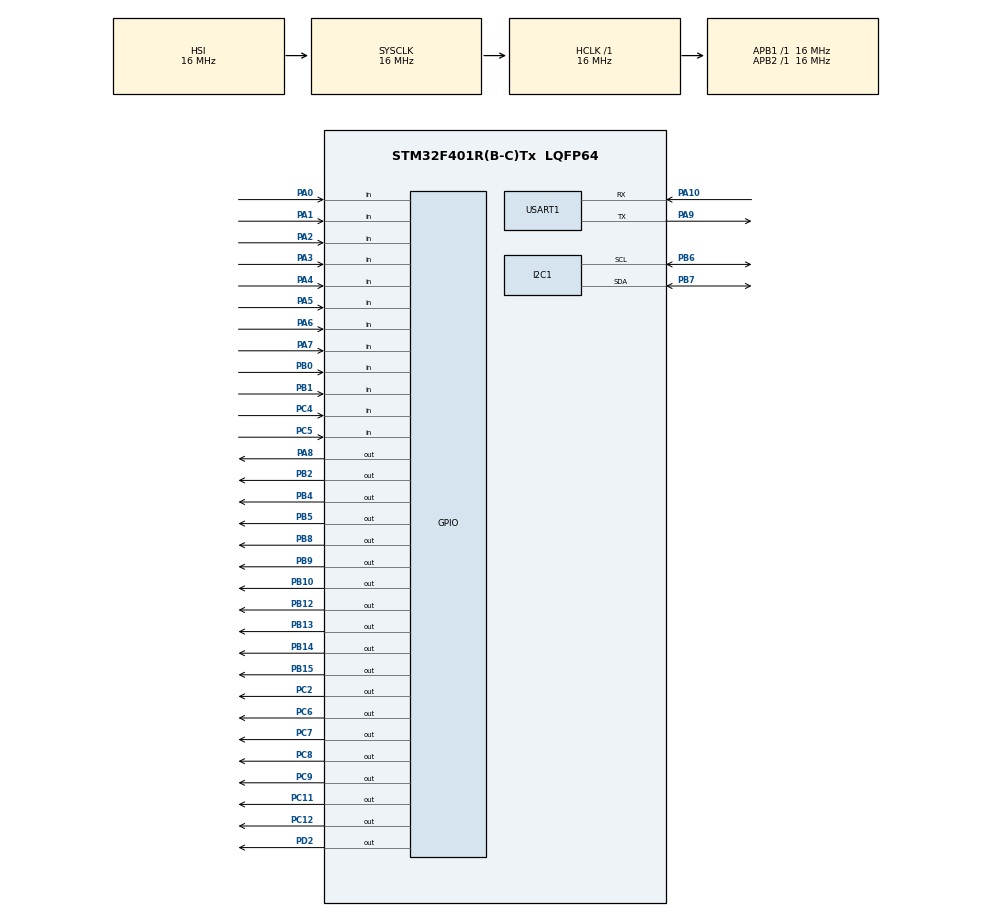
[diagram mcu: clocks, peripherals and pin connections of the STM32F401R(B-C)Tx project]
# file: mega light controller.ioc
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FREERTOS.Tasks01=defaultTask,24,128,StartDefaultTask,Default,NULL,Dynamic,NULL,NULL;lightcontroller,40,128,StartLightcontroller,Default,NULL,Dynamic,NULL,NULL
I2C1.OwnAddress=0x32
Mcu.Family=STM32F4
Mcu.Name=STM32F401R(B-C)Tx
Mcu.Package=LQFP64
NVIC.I2C1_ER_IRQn=true\:0\:0\:false\:false\:true\:false\:true\:true
NVIC.I2C1_EV_IRQn=true\:0\:0\:false\:false\:true\:false\:true\:true
NVIC.PriorityGroup=NVIC_PRIORITYGROUP_4
NVIC.TIM1_UP_TIM10_IRQn=true\:0\:0\:false\:false\:true\:false\:false\:true
NVIC.TimeBase=TIM1_UP_TIM10_IRQn
NVIC.TimeBaseIP=TIM1
PA0-WKUP.Signal=GPIO_Input
PA1.Signal=GPIO_Input
PA10.Mode=Asynchronous
PA10.Signal=USART1_RX
PA13.Mode=Serial_Wire
PA13.Signal=SYS_JTMS-SWDIO
PA14.Mode=Serial_Wire
PA14.Signal=SYS_JTCK-SWCLK
PA2.Signal=GPIO_Input
PA3.Signal=GPIO_Input
PA4.Signal=GPIO_Input
PA5.Signal=GPIO_Input
PA6.Signal=GPIO_Input
PA7.Signal=GPIO_Input
PA8.Signal=GPIO_Output
PA9.Mode=Asynchronous
PA9.Signal=USART1_TX
PB0.Signal=GPIO_Input
PB1.Signal=GPIO_Input
PB10.Signal=GPIO_Output
PB12.Signal=GPIO_Output
PB13.Signal=GPIO_Output
PB14.Signal=GPIO_Output
PB15.Signal=GPIO_Output
PB2.Signal=GPIO_Output
PB4.Signal=GPIO_Output
PB5.Signal=GPIO_Output
PB6.Mode=I2C
PB6.Signal=I2C1_SCL
PB7.Mode=I2C
PB7.Signal=I2C1_SDA
PB8.Signal=GPIO_Output
PB9.Signal=GPIO_Output
PC11.Signal=GPIO_Output
PC12.Signal=GPIO_Output
PC2.Signal=GPIO_Output
PC4.Signal=GPIO_Input
PC5.Signal=GPIO_Input
PC6.Signal=GPIO_Output
PC7.Signal=GPIO_Output
PC8.Signal=GPIO_Output
PC9.Signal=GPIO_Output
PD2.Signal=GPIO_Output
ProjectManager.HeapSize=0x200
ProjectManager.StackSize=0x400
ProjectManager.TargetToolchain=STM32CubeIDE
RCC.AHBFreq_Value=16000000
RCC.APB1Freq_Value=16000000
RCC.APB2Freq_Value=16000000
RCC.CortexFreq_Value=16000000
RCC.HSE_VALUE=25000000
RCC.HSI_VALUE=16000000
RCC.LSE_VALUE=32768
RCC.SYSCLKFreq_VALUE=16000000
RCC.VCOOutputFreq_Value=192000000
USART1.VirtualMode=VM_ASYNC
VP_FREERTOS_VS_CMSIS_V2.Mode=CMSIS_V2
VP_SYS_VS_tim1.Mode=TIM1
board=custom

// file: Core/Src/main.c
/* USER CODE BEGIN Header */
/**
  ******************************************************************************
  * @file           : main.c
  * @brief          : Main program body
  ******************************************************************************
  * @attention
  *
  * <h2><center>&copy; Copyright (c) 2020 STMicroelectronics.
  * All rights reserved.</center></h2>
  *
  * This software component is licensed by ST under BSD 3-Clause license,
  * the "License"; You may not use this file except in compliance with the
  * License. You may obtain a copy of the License at:
  *                        opensource.org/licenses/BSD-3-Clause
  *
  ******************************************************************************
  */
/* USER CODE END Header */
#include "main.h"
#include "cmsis_os.h"

/* USER CODE BEGIN PTD */
typedef struct pin_info{
  GPIO_TypeDef* port;
  uint16_t pin;
} pin_info_t;
/* USER CODE END PTD */

I2C_HandleTypeDef hi2c1;

UART_HandleTypeDef huart1;

/* Definitions for defaultTask */
osThreadId_t defaultTaskHandle;
const osThreadAttr_t defaultTask_attributes = {
  .name = "defaultTask",
  .priority = (osPriority_t) osPriorityNormal,
  .stack_size = 128 * 4
};
/* Definitions for lightcontroller */
osThreadId_t lightcontrollerHandle;
const osThreadAttr_t lightcontroller_attributes = {
  .name = "lightcontroller",
  .priority = (osPriority_t) osPriorityHigh,
  .stack_size = 128 * 4
};
/* USER CODE BEGIN PV */
uint16_t channels=0;
pin_info_t pinInfo[1] = {{GPIOB,GPIO_PIN_5}};

/* USER CODE END PV */

void SystemClock_Config(void);
static void MX_GPIO_Init(void);
static void MX_I2C1_Init(void);
static void MX_USART1_UART_Init(void);
void StartDefaultTask(void *argument);
void StartLightcontroller(void *argument);

int main(void)
{

  /* MCU Configuration--------------------------------------------------------*/

  /* Reset of all peripherals, Initializes the Flash interface and the Systick. */
  HAL_Init();

  /* Configure the system clock */
  SystemClock_Config();

  /* Initialize all configured peripherals */
  MX_GPIO_Init();
  MX_I2C1_Init();
  MX_USART1_UART_Init();

  /* Init scheduler */
  osKernelInitialize();

  /* Create the thread(s) */
  /* creation of defaultTask */
  defaultTaskHandle = osThreadNew(StartDefaultTask, NULL, &defaultTask_attributes);

  /* creation of lightcontroller */
  lightcontrollerHandle = osThreadNew(StartLightcontroller, NULL, &lightcontroller_attributes);

  /* Start scheduler */
  osKernelStart();

  /* We should never get here as control is now taken by the scheduler */
  /* Infinite loop */
  while (1)
  {

  }
}

void SystemClock_Config(void)
{
  RCC_OscInitTypeDef RCC_OscInitStruct = {0};
  RCC_ClkInitTypeDef RCC_ClkInitStruct = {0};

  /** Configure the main internal regulator output voltage
  */
  __HAL_RCC_PWR_CLK_ENABLE();
  __HAL_PWR_VOLTAGESCALING_CONFIG(PWR_REGULATOR_VOLTAGE_SCALE2);
  /** Initializes the RCC Oscillators according to the specified parameters
  * in the RCC_OscInitTypeDef structure.
  */
  RCC_OscInitStruct.OscillatorType = RCC_OSCILLATORTYPE_HSI;
  RCC_OscInitStruct.HSIState = RCC_HSI_ON;
  RCC_OscInitStruct.HSICalibrationValue = RCC_HSICALIBRATION_DEFAULT;
  RCC_OscInitStruct.PLL.PLLState = RCC_PLL_NONE;
  if (HAL_RCC_OscConfig(&RCC_OscInitStruct) != HAL_OK)
  {
    Error_Handler();
  }
  /** Initializes the CPU, AHB and APB buses clocks
  */
  RCC_ClkInitStruct.ClockType = RCC_CLOCKTYPE_HCLK|RCC_CLOCKTYPE_SYSCLK
                              |RCC_CLOCKTYPE_PCLK1|RCC_CLOCKTYPE_PCLK2;
  RCC_ClkInitStruct.SYSCLKSource = RCC_SYSCLKSOURCE_HSI;
  RCC_ClkInitStruct.AHBCLKDivider = RCC_SYSCLK_DIV1;
  RCC_ClkInitStruct.APB1CLKDivider = RCC_HCLK_DIV1;
  RCC_ClkInitStruct.APB2CLKDivider = RCC_HCLK_DIV1;

  if (HAL_RCC_ClockConfig(&RCC_ClkInitStruct, FLASH_LATENCY_0) != HAL_OK)
  {
    Error_Handler();
  }
}

static void MX_I2C1_Init(void)
{

  hi2c1.Instance = I2C1;
  hi2c1.Init.ClockSpeed = 100000;
  hi2c1.Init.DutyCycle = I2C_DUTYCYCLE_2;
  hi2c1.Init.OwnAddress1 = 100;
  hi2c1.Init.AddressingMode = I2C_ADDRESSINGMODE_7BIT;
  hi2c1.Init.DualAddressMode = I2C_DUALADDRESS_DISABLE;
  hi2c1.Init.OwnAddress2 = 0;
  hi2c1.Init.GeneralCallMode = I2C_GENERALCALL_DISABLE;
  hi2c1.Init.NoStretchMode = I2C_NOSTRETCH_DISABLE;
  if (HAL_I2C_Init(&hi2c1) != HAL_OK)
  {
    Error_Handler();
  }

}

static void MX_USART1_UART_Init(void)
{

  huart1.Instance = USART1;
  huart1.Init.BaudRate = 115200;
  huart1.Init.WordLength = UART_WORDLENGTH_8B;
  huart1.Init.StopBits = UART_STOPBITS_1;
  huart1.Init.Parity = UART_PARITY_NONE;
  huart1.Init.Mode = UART_MODE_TX_RX;
  huart1.Init.HwFlowCtl = UART_HWCONTROL_NONE;
  huart1.Init.OverSampling = UART_OVERSAMPLING_16;
  if (HAL_UART_Init(&huart1) != HAL_OK)
  {
    Error_Handler();
  }

}

static void MX_GPIO_Init(void)
{
  GPIO_InitTypeDef GPIO_InitStruct = {0};

  /* GPIO Ports Clock Enable */
  __HAL_RCC_GPIOC_CLK_ENABLE();
  __HAL_RCC_GPIOA_CLK_ENABLE();
  __HAL_RCC_GPIOB_CLK_ENABLE();
  __HAL_RCC_GPIOD_CLK_ENABLE();

  /*Configure GPIO pin Output Level */
  HAL_GPIO_WritePin(GPIOC, GPIO_PIN_2|GPIO_PIN_6|GPIO_PIN_7|GPIO_PIN_8
                          |GPIO_PIN_9|GPIO_PIN_11|GPIO_PIN_12, GPIO_PIN_RESET);

  /*Configure GPIO pin Output Level */
  HAL_GPIO_WritePin(GPIOB, GPIO_PIN_2|GPIO_PIN_10|GPIO_PIN_12|GPIO_PIN_13
                          |GPIO_PIN_14|GPIO_PIN_15|GPIO_PIN_4|GPIO_PIN_5
                          |GPIO_PIN_8|GPIO_PIN_9, GPIO_PIN_RESET);

  /*Configure GPIO pin Output Level */
  HAL_GPIO_WritePin(GPIOA, GPIO_PIN_8, GPIO_PIN_RESET);

  /*Configure GPIO pin Output Level */
  HAL_GPIO_WritePin(GPIOD, GPIO_PIN_2, GPIO_PIN_RESET);

  /*Configure GPIO pins : PC2 PC6 PC7 PC8
                           PC9 PC11 PC12 */
  GPIO_InitStruct.Pin = GPIO_PIN_2|GPIO_PIN_6|GPIO_PIN_7|GPIO_PIN_8
                          |GPIO_PIN_9|GPIO_PIN_11|GPIO_PIN_12;
  GPIO_InitStruct.Mode = GPIO_MODE_OUTPUT_PP;
  GPIO_InitStruct.Pull = GPIO_NOPULL;
  GPIO_InitStruct.Speed = GPIO_SPEED_FREQ_LOW;
  HAL_GPIO_Init(GPIOC, &GPIO_InitStruct);

  /*Configure GPIO pins : PA0 PA1 PA2 PA3
                           PA4 PA5 PA6 PA7 */
  GPIO_InitStruct.Pin = GPIO_PIN_0|GPIO_PIN_1|GPIO_PIN_2|GPIO_PIN_3
                          |GPIO_PIN_4|GPIO_PIN_5|GPIO_PIN_6|GPIO_PIN_7;
  GPIO_InitStruct.Mode = GPIO_MODE_INPUT;
  GPIO_InitStruct.Pull = GPIO_NOPULL;
  HAL_GPIO_Init(GPIOA, &GPIO_InitStruct);

  /*Configure GPIO pins : PC4 PC5 */
  GPIO_InitStruct.Pin = GPIO_PIN_4|GPIO_PIN_5;
  GPIO_InitStruct.Mode = GPIO_MODE_INPUT;
  GPIO_InitStruct.Pull = GPIO_NOPULL;
  HAL_GPIO_Init(GPIOC, &GPIO_InitStruct);

  /*Configure GPIO pins : PB0 PB1 */
  GPIO_InitStruct.Pin = GPIO_PIN_0|GPIO_PIN_1;
  GPIO_InitStruct.Mode = GPIO_MODE_INPUT;
  GPIO_InitStruct.Pull = GPIO_NOPULL;
  HAL_GPIO_Init(GPIOB, &GPIO_InitStruct);

  /*Configure GPIO pins : PB2 PB10 PB12 PB13
                           PB14 PB15 PB4 PB5
                           PB8 PB9 */
  GPIO_InitStruct.Pin = GPIO_PIN_2|GPIO_PIN_10|GPIO_PIN_12|GPIO_PIN_13
                          |GPIO_PIN_14|GPIO_PIN_15|GPIO_PIN_4|GPIO_PIN_5
                          |GPIO_PIN_8|GPIO_PIN_9;
  GPIO_InitStruct.Mode = GPIO_MODE_OUTPUT_PP;
  GPIO_InitStruct.Pull = GPIO_NOPULL;
  GPIO_InitStruct.Speed = GPIO_SPEED_FREQ_LOW;
  HAL_GPIO_Init(GPIOB, &GPIO_InitStruct);

  /*Configure GPIO pin : PA8 */
  GPIO_InitStruct.Pin = GPIO_PIN_8;
  GPIO_InitStruct.Mode = GPIO_MODE_OUTPUT_PP;
  GPIO_InitStruct.Pull = GPIO_NOPULL;
  GPIO_InitStruct.Speed = GPIO_SPEED_FREQ_LOW;
  HAL_GPIO_Init(GPIOA, &GPIO_InitStruct);

  /*Configure GPIO pin : PD2 */
  GPIO_InitStruct.Pin = GPIO_PIN_2;
  GPIO_InitStruct.Mode = GPIO_MODE_OUTPUT_PP;
  GPIO_InitStruct.Pull = GPIO_NOPULL;
  GPIO_InitStruct.Speed = GPIO_SPEED_FREQ_LOW;
  HAL_GPIO_Init(GPIOD, &GPIO_InitStruct);

}

/* USER CODE BEGIN 4 */
void HAL_I2C_ListenCpltCallback(I2C_HandleTypeDef *hi2c){
  osDelay(1);
}

void HAL_I2C_AddrCallback(I2C_HandleTypeDef *hi2c, uint8_t TransferDirection, uint16_t AddrMatchCode){
  osDelay(1);
}
/* USER CODE END 4 */

void StartDefaultTask(void *argument)
{
  /* USER CODE BEGIN 5 */
  /* Infinite loop */
  uint8_t buf[10];
  for(int i =0; i< 10;i++){
    buf[i] = i+16;
  }
  HAL_StatusTypeDef stat;
  uint8_t dir = -1;
  uint8_t match_code = -1;
  HAL_I2C_EnableListen_IT(&hi2c1);

  for(;;)
  {

     stat = HAL_I2C_Slave_Receive_IT(&hi2c1, &buf, 1);

     while(HAL_I2C_GetState(&hi2c1)== HAL_I2C_STATE_BUSY_RX){
       osDelay(100);
     }
     osDelay(100);
  }
  /* USER CODE END 5 */
}

void StartLightcontroller(void *argument)
{
  /* USER CODE BEGIN StartLightcontroller */
  /* Infinite loop */
  for(;;)
  {
    for(int i = 0;i<1;i++){
      HAL_GPIO_WritePin(pinInfo[i].port,pinInfo[i].pin,GPIO_PIN_SET );
    }
    osDelay(1000);

  }
  /* USER CODE END StartLightcontroller */
}

void HAL_TIM_PeriodElapsedCallback(TIM_HandleTypeDef *htim)
{
  if (htim->Instance == TIM1) {
    HAL_IncTick();
  }
}

void Error_Handler(void)
{
}

/************************ (C) COPYRIGHT STMicroelectronics *****END OF FILE****/
